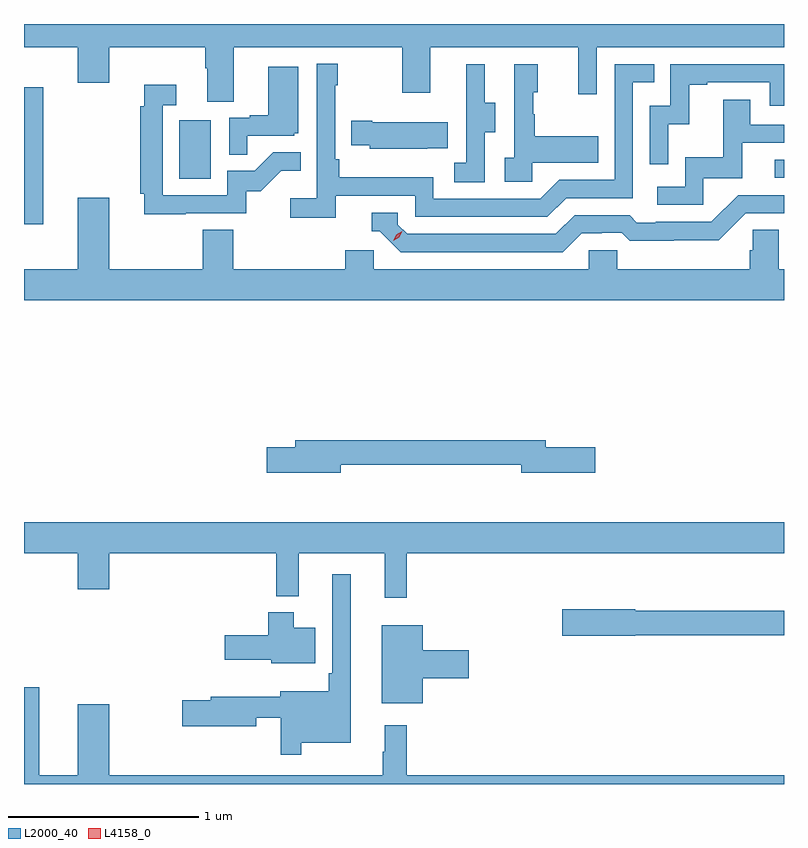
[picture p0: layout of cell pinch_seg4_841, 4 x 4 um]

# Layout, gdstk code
import gdstk
lib = gdstk.Library(unit=1e-6, precision=1e-09)
def R(c, l, rs):  # rectangles x0, y0, x1, y1
    for r in rs: c.add(gdstk.rectangle(r[:2], r[2:], *l))
def P(c, l, *ps):  # polygons
    for p in ps: c.add(gdstk.Polygon(p, *l))
L2000_40 = (2000, 40)
L4158_0 = (4158, 0)

pinch_seg4_841 = lib.new_cell('pinch_seg4_841')
R(pinch_seg4_841, L2000_40, [(860.028,791.892,860.128,792.613), (860.846,792.132,861.01,792.439), (863.979,792.138,864.028,792.231)])
P(pinch_seg4_841, L2000_40, [(861.133,792.824),(862.018,792.824),(862.018,792.585),(862.165,792.585),(862.165,792.824),(862.946,792.824),(862.946,792.576),(863.043,792.576),(863.043,792.824),(864.028,792.824),(864.028,792.946),(860.028,792.946),(860.028,792.824),(860.312,792.824),(860.312,792.636),(860.476,792.636),(860.476,792.824),(860.981,792.824),(860.981,792.712),(860.993,792.712),(860.993,792.538),(861.133,792.538)],
  [(861.668,792.042),(862.086,792.042),(862.086,791.931),(862.783,791.931),(862.882,792.03),(863.232,792.03),(863.232,792.639),(863.345,792.639),(863.345,792.735),(863.136,792.735),(863.136,792.126),(862.845,792.126),(862.746,792.027),(862.182,792.027),(862.182,792.139),(861.686,792.139),(861.686,792.235),(861.666,792.235),(861.666,792.623),(861.679,792.623),(861.679,792.736),(861.57,792.736),(861.57,792.028),(861.429,792.028),(861.429,791.926),(861.668,791.926)],
  [(863.418,792.419),(863.528,792.419),(863.528,792.627),(863.623,792.627),(863.623,792.639),(863.952,792.639),(863.952,792.516),(864.028,792.516),(864.028,792.735),(863.43,792.735),(863.43,792.516),(863.322,792.516),(863.322,792.207),(863.418,792.207)],
  [(862.704,792.215),(863.051,792.215),(863.051,792.355),(862.717,792.355),(862.717,792.47),(862.707,792.47),(862.707,792.588),(862.732,792.588),(862.732,792.733),(862.608,792.733),(862.608,792.242),(862.557,792.242),(862.557,792.117),(862.704,792.117)],
  [(862.452,792.376),(862.507,792.376),(862.507,792.531),(862.453,792.531),(862.453,792.733),(862.355,792.733),(862.355,792.519),(862.356,792.519),(862.356,792.215),(862.293,792.215),(862.293,792.112),(862.452,792.112)],
  [(861.203,792.357),(861.45,792.357),(861.45,792.372),(861.472,792.372),(861.472,792.721),(861.314,792.721),(861.314,792.466),(861.215,792.466),(861.215,792.453),(861.108,792.453),(861.108,792.259),(861.203,792.259)],
  [(860.879,791.949),(861.198,791.949),(861.198,792.066),(861.274,792.066),(861.381,792.173),(861.485,792.173),(861.485,792.272),(861.341,792.272),(861.243,792.174),(861.099,792.174),(861.099,792.045),(860.757,792.045),(860.757,792.519),(860.83,792.519),(860.83,792.625),(860.66,792.625),(860.66,792.512),(860.641,792.512),(860.641,792.052),(860.66,792.052),(860.66,791.944),(860.879,791.944)],
  [(863.604,792.135),(863.809,792.135),(863.809,792.321),(864.028,792.321),(864.028,792.417),(863.851,792.417),(863.851,792.547),(863.707,792.547),(863.707,792.244),(863.508,792.244),(863.508,792.09),(863.361,792.09),(863.361,791.994),(863.604,791.994)],
  [(862.151,792.293),(862.259,792.293),(862.259,792.43),(861.862,792.43),(861.862,792.438),(861.751,792.438),(861.751,792.308),(861.849,792.308),(861.849,792.29),(862.151,792.29)],
  [(862.963,791.844),(863.07,791.844),(863.07,791.847),(863.173,791.847),(863.215,791.805),(863.448,791.805),(863.448,791.807),(863.684,791.807),(863.826,791.949),(864.028,791.949),(864.028,792.045),(863.787,792.045),(863.646,791.904),(863.353,791.904),(863.353,791.901),(863.254,791.901),(863.215,791.94),(862.926,791.94),(862.827,791.841),(862.044,791.841),(861.996,791.889),(861.996,791.952),(861.857,791.952),(861.857,791.856),(861.9,791.856),(862.011,791.745),(862.864,791.745)],
  [(864.028,791.656),(864,791.656),(864,791.864),(863.863,791.864),(863.863,791.754),(863.849,791.754),(863.849,791.656),(863.151,791.656),(863.151,791.754),(863.001,791.754),(863.001,791.656),(861.87,791.656),(861.87,791.754),(861.719,791.754),(861.719,791.656),(861.128,791.656),(861.128,791.864),(860.968,791.864),(860.968,791.656),(860.476,791.656),(860.476,792.031),(860.312,792.031),(860.312,791.656),(860.028,791.656),(860.028,791.492),(864.028,791.492)],
  [(861.694,790.626),(862.646,790.626),(862.646,790.583),(863.035,790.583),(863.035,790.718),(862.774,790.718),(862.774,790.754),(861.455,790.754),(861.455,790.718),(861.306,790.718),(861.306,790.583),(861.694,790.583)],
  [(862.043,790.16),(864.028,790.16),(864.028,790.324),(860.028,790.324),(860.028,790.16),(860.312,790.16),(860.312,789.972),(860.476,789.972),(860.476,790.16),(861.355,790.16),(861.355,789.935),(861.473,789.935),(861.473,790.16),(861.926,790.16),(861.926,789.927),(862.043,789.927)],
  [(861.487,789.164),(861.748,789.164),(861.748,790.051),(861.651,790.051),(861.651,789.529),(861.631,789.529),(861.631,789.433),(861.377,789.433),(861.377,789.404),(861.011,789.404),(861.011,789.386),(860.862,789.386),(860.862,789.251),(861.25,789.251),(861.25,789.294),(861.378,789.294),(861.378,789.099),(861.487,789.099)],
  [(863.244,789.73),(864.028,789.73),(864.028,789.859),(863.244,789.859),(863.244,789.867),(862.86,789.867),(862.86,789.725),(863.244,789.725)],
  [(861.562,789.769),(861.448,789.769),(861.448,789.85),(861.314,789.85),(861.314,789.729),(861.084,789.729),(861.084,789.599),(861.33,789.599),(861.33,789.581),(861.562,789.581)],
  [(862.126,789.503),(862.369,789.503),(862.369,789.65),(862.126,789.65),(862.126,789.781),(861.911,789.781),(861.911,789.371),(862.126,789.371)],
  [(864.028,788.992),(862.043,788.992),(862.043,789.256),(861.926,789.256),(861.926,789.116),(861.915,789.116),(861.915,788.992),(860.476,788.992),(860.476,789.367),(860.312,789.367),(860.312,788.992),(860.107,788.992),(860.107,789.454),(860.028,789.454),(860.028,788.946),(864.028,788.946)])
P(pinch_seg4_841, L4158_0, [(861.972,791.804),(861.972,791.804),(861.988,791.837),(862.018,791.856),(862.018,791.856),(862.018,791.856),(862.003,791.823),(861.972,791.804)])

lib.write_gds('pinch_seg4_841.gds')
